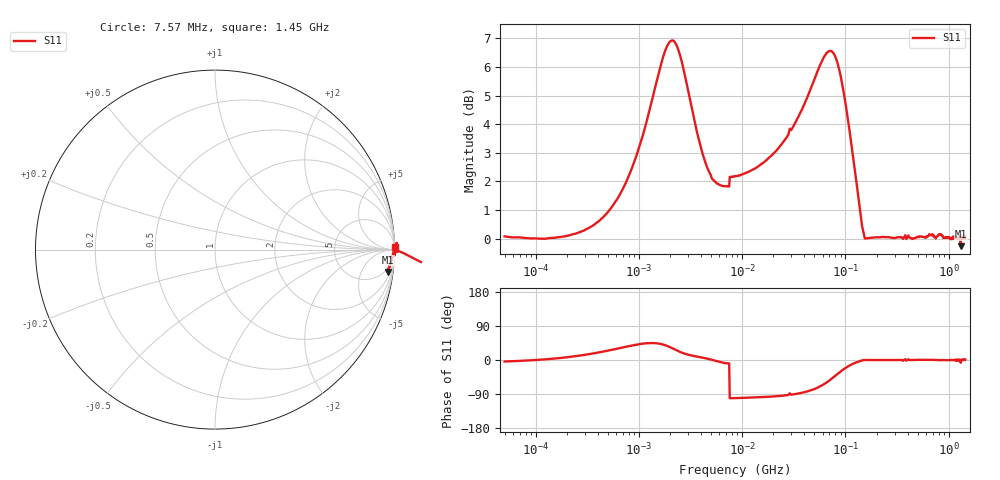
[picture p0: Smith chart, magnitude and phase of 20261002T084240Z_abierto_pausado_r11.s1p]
! piloto_saltos / abierto_pausado / r11
# HZ S RI R 50
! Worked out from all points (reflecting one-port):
!   501 points, 50 kHz to 1.45 GHz, reference 50 ohm
!   lowest |S11| = -0.3 dB at 1.306 GHz (marker M1), VSWR 65.80, Z = 172 - j731 ohm
!   phase of S11 starts at -4 deg and turns +5 deg over the sweep
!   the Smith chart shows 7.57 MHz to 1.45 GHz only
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50000  1.007 -0.0699
183000  1.003 0.1046
363500  1.007 0.3166
658000  1.02 0.6262
1180000  1.145 1.112
1630000  1.488 1.352
1990000  1.83 1.24
2440000  1.959 0.8173
2890000  1.804 0.4916
3430000  1.589 0.2945
4960000  1.293 0.0288
7300000  1.22 -0.1927
7750000  -0.2414 -1.259
8560000  -0.2352 -1.264
1.81e7  -0.169 -1.374
3.16e7  -0.0113 -1.577
4.69e7  0.3387 -1.813
6.4e7  1.003 -1.84
7.3e7  1.369 -1.629
8.65e7  1.651 -1.099
9.82e7  1.627 -0.6726
1e8  1.611 -0.6217
1.18e8  1.377 -0.2429
1.36e8  1.147 -0.0693
1.63e8  1.001 -0.000363
4.06e8  1.012 0.0356
1.306e9  0.9619 -0.1253
1.45e9  1.004 0.0148
